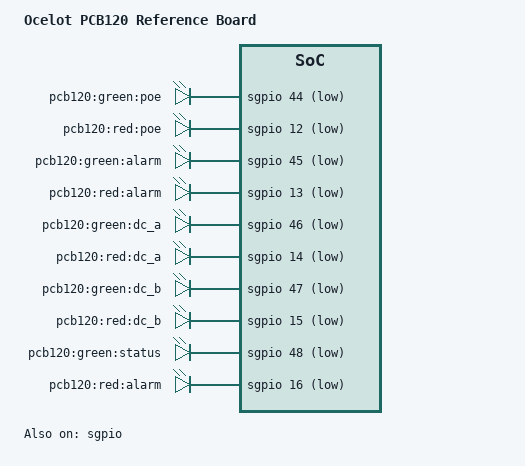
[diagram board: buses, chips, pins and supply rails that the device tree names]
// SPDX-License-Identifier: (GPL-2.0+ OR MIT)
/*
 * Copyright (c) 2018 Microsemi Corporation
 */

/dts-v1/;
#include "mscc,ocelot_pcb.dtsi"

/ {
	model = "Ocelot PCB120 Reference Board";
	compatible = "mscc,ocelot-pcb120", "mscc,ocelot";

	chosen {
		stdout-path = "serial0:115200n8";
	};

	gpio-leds {
		compatible = "gpio-leds";

		poe_green {
			label = "pcb120:green:poe";
			gpios = <&sgpio 44 1>; /* p12.1 */
			default-state = "off";
		};

		poe_red {
			label = "pcb120:red:poe";
			gpios = <&sgpio 12 1>; /* p12.0 */
			default-state = "off";
		};

		alarm_green {
			label = "pcb120:green:alarm";
			gpios = <&sgpio 45 1>; /* p13.1 */
			default-state = "off";
		};

		alarm_red {
			label = "pcb120:red:alarm";
			gpios = <&sgpio 13 1>; /* p13.0 */
			default-state = "off";
		};

		dc_a_green {
			label = "pcb120:green:dc_a";
			gpios = <&sgpio 46 1>; /* p14.1 */
			default-state = "off";
		};

		dc_a_red {
			label = "pcb120:red:dc_a";
			gpios = <&sgpio 14 1>; /* p14.0 */
			default-state = "off";
		};

		dc_b_green {
			label = "pcb120:green:dc_b";
			gpios = <&sgpio 47 1>; /* p15.1 */
			default-state = "off";
		};

		dc_b_red {
			label = "pcb120:red:dc_b";
			gpios = <&sgpio 15 1>; /* p15.0 */
			default-state = "off";
		};

		status_green {
			label = "pcb120:green:status";
			gpios = <&sgpio 48 1>; /* p16.1 */
			default-state = "on";
		};

		status_red {
			label = "pcb120:red:alarm";
			gpios = <&sgpio 16 1>; /* p16.0 */
			default-state = "off";
		};

	};

};

&sgpio {
	status = "okay";
	mscc,sgpio-ports = <0x000FFFFF>;
};

